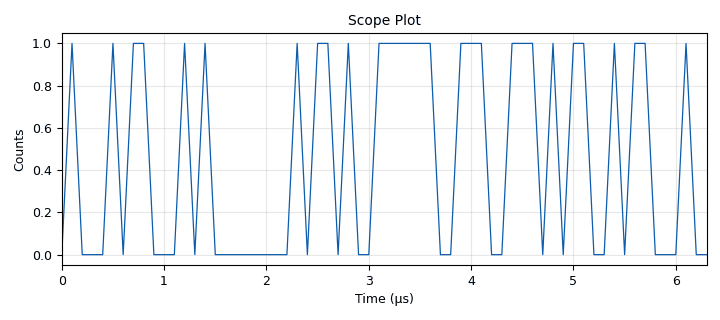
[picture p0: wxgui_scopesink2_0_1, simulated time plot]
<?xml version='1.0' encoding='utf-8'?>
<?grc format='1' created='3.7.11'?>
<flow_graph>
<block>
<key>options</key>
<param><key>id</key><value>top_block</value></param>
<param><key>generate_options</key><value>wx_gui</value></param>
</block>
<block>
<key>variable</key>
<param><key>id</key><value>FMCOMMS_LO</value></param>
<param><key>value</key><value>2.4e9</value></param>
</block>
<block>
<key>variable</key>
<param><key>id</key><value>FMCOMMS_RFband</value></param>
<param><key>value</key><value>20e6</value></param>
</block>
<block>
<key>variable</key>
<param><key>id</key><value>FMCOMMS_samp_rate</value></param>
<param><key>value</key><value>2084000</value></param>
</block>
<block>
<key>variable</key>
<param><key>id</key><value>fs</value></param>
<param><key>value</key><value>1000</value></param>
</block>
<block>
<key>variable</key>
<param><key>id</key><value>samp_rate</value></param>
<param><key>value</key><value>10e6</value></param>
</block>
<block>
<key>analog_random_source_x</key>
<param><key>id</key><value>analog_random_source_x_0</value></param>
<param><key>max</key><value>2</value></param>
<param><key>min</key><value>0</value></param>
<param><key>num_samps</key><value>1000</value></param>
<param><key>type</key><value>int</value></param>
<param><key>repeat</key><value>True</value></param>
</block>
<block>
<key>blocks_add_xx</key>
<param><key>id</key><value>blocks_add_xx_0</value></param>
<param><key>type</key><value>float</value></param>
</block>
<block>
<key>blocks_complex_to_float</key>
<param><key>id</key><value>blocks_complex_to_float_0</value></param>
</block>
<block>
<key>blocks_float_to_complex</key>
<param><key>id</key><value>blocks_float_to_complex_0</value></param>
</block>
<block>
<key>blocks_int_to_float</key>
<param><key>id</key><value>blocks_int_to_float_0</value></param>
<param><key>scale</key><value>1</value></param>
</block>
<block>
<key>blocks_multiply_xx</key>
<param><key>id</key><value>blocks_multiply_xx_0</value></param>
<param><key>type</key><value>float</value></param>
</block>
<block>
<key>blocks_multiply_xx</key>
<param><key>id</key><value>blocks_multiply_xx_0_0</value></param>
<param><key>type</key><value>float</value></param>
</block>
<block>
<key>blocks_threshold_ff</key>
<param><key>id</key><value>blocks_threshold_ff_0</value></param>
<param><key>_enabled</key><value>0</value></param>
<param><key>high</key><value>0.0001</value></param>
<param><key>init</key><value>0</value></param>
<param><key>low</key><value>-0.0001</value></param>
</block>
<block>
<key>channels_phase_noise_gen</key>
<param><key>id</key><value>channels_phase_noise_gen_0</value></param>
<param><key>alpha</key><value>0.1</value></param>
<param><key>noise_mag</key><value>0.69</value></param>
</block>
<block>
<key>high_pass_filter</key>
<param><key>id</key><value>high_pass_filter_0</value></param>
<param><key>cutoff_freq</key><value>samp_rate/100</value></param>
<param><key>_enabled</key><value>0</value></param>
<param><key>type</key><value>interp_fir_filter_fff</value></param>
<param><key>gain</key><value>1</value></param>
<param><key>interp</key><value>1</value></param>
<param><key>samp_rate</key><value>samp_rate</value></param>
<param><key>width</key><value>samp_rate/1000</value></param>
<param><key>win</key><value>firdes.WIN_HAMMING</value></param>
</block>
<block>
<key>interp_fir_filter_xxx</key>
<param><key>id</key><value>interp_fir_filter_xxx_0</value></param>
<param><key>_enabled</key><value>0</value></param>
<param><key>interp</key><value>1</value></param>
<param><key>taps</key><value>[1,1,1,1]</value></param>
<param><key>type</key><value>fff</value></param>
</block>
<block>
<key>parameter</key>
<param><key>id</key><value>uri</value></param>
<param><key>label</key><value>URI</value></param>
<param><key>type</key><value>string</value></param>
<param><key>value</key><value>'ip:10.43.156.103'</value></param>
</block>
<block>
<key>wxgui_scopesink2</key>
<param><key>id</key><value>wxgui_scopesink2_0_1</value></param>
<param><key>ac_couple</key><value>False</value></param>
<param><key>num_inputs</key><value>1</value></param>
<param><key>samp_rate</key><value>samp_rate</value></param>
<param><key>t_scale</key><value>0</value></param>
<param><key>title</key><value>Scope Plot</value></param>
<param><key>trig_mode</key><value>wxgui.TRIG_MODE_AUTO</value></param>
<param><key>type</key><value>float</value></param>
<param><key>v_offset</key><value>0</value></param>
<param><key>v_scale</key><value>0</value></param>
<param><key>xy_mode</key><value>False</value></param>
<param><key>y_axis_label</key><value>Counts</value></param>
</block>
<connection><source_block_id>analog_random_source_x_0</source_block_id><sink_block_id>blocks_int_to_float_0</sink_block_id><source_key>0</source_key><sink_key>0</sink_key></connection>
<connection><source_block_id>blocks_add_xx_0</source_block_id><sink_block_id>interp_fir_filter_xxx_0</sink_block_id><source_key>0</source_key><sink_key>0</sink_key></connection>
<connection><source_block_id>blocks_add_xx_0</source_block_id><sink_block_id>wxgui_scopesink2_0_1</sink_block_id><source_key>0</source_key><sink_key>0</sink_key></connection>
<connection><source_block_id>blocks_complex_to_float_0</source_block_id><sink_block_id>blocks_multiply_xx_0_0</sink_block_id><source_key>1</source_key><sink_key>0</sink_key></connection>
<connection><source_block_id>blocks_complex_to_float_0</source_block_id><sink_block_id>blocks_multiply_xx_0_0</sink_block_id><source_key>1</source_key><sink_key>1</sink_key></connection>
<connection><source_block_id>blocks_complex_to_float_0</source_block_id><sink_block_id>blocks_multiply_xx_0</sink_block_id><source_key>0</source_key><sink_key>0</sink_key></connection>
<connection><source_block_id>blocks_complex_to_float_0</source_block_id><sink_block_id>blocks_multiply_xx_0</sink_block_id><source_key>0</source_key><sink_key>1</sink_key></connection>
<connection><source_block_id>blocks_float_to_complex_0</source_block_id><sink_block_id>channels_phase_noise_gen_0</sink_block_id><source_key>0</source_key><sink_key>0</sink_key></connection>
<connection><source_block_id>blocks_int_to_float_0</source_block_id><sink_block_id>blocks_float_to_complex_0</sink_block_id><source_key>0</source_key><sink_key>0</sink_key></connection>
<connection><source_block_id>blocks_multiply_xx_0</source_block_id><sink_block_id>blocks_add_xx_0</sink_block_id><source_key>0</source_key><sink_key>0</sink_key></connection>
<connection><source_block_id>blocks_multiply_xx_0_0</source_block_id><sink_block_id>blocks_add_xx_0</sink_block_id><source_key>0</source_key><sink_key>1</sink_key></connection>
<connection><source_block_id>channels_phase_noise_gen_0</source_block_id><sink_block_id>blocks_complex_to_float_0</sink_block_id><source_key>0</source_key><sink_key>0</sink_key></connection>
<connection><source_block_id>high_pass_filter_0</source_block_id><sink_block_id>blocks_threshold_ff_0</sink_block_id><source_key>0</source_key><sink_key>0</sink_key></connection>
<connection><source_block_id>interp_fir_filter_xxx_0</source_block_id><sink_block_id>high_pass_filter_0</sink_block_id><source_key>0</source_key><sink_key>0</sink_key></connection>
</flow_graph>
